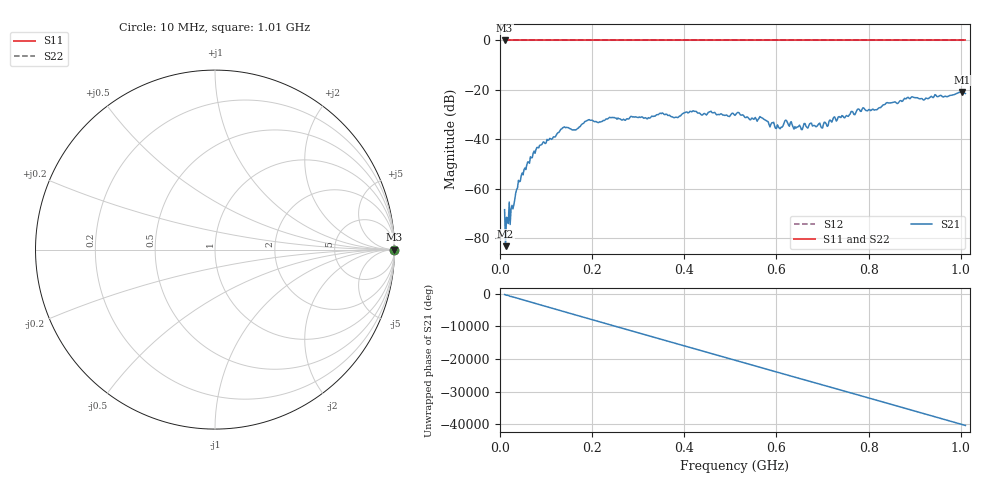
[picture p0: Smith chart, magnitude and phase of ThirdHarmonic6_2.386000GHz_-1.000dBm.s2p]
! 8/17/2025 3:50:18 AM
! C:\ANRITSUVNA\TEMP\TEMP.S2P
! CHANNEL.1
! TR.MEASUREMENT
! RAW.DATA
! RF.CORRECTION.OFF
! AVERAGING.OFF
! IF.BANDWIDTH: 5KHZ
! SWEEPTYPE:  FREQ.SWEEP(Linear)
! Reference Plane Port Info
! PORT:  PORT1  PORT2
! DISTANCE:  0  m  0  m
! TIME:  0  s  0  s
! PHASE.OFFSET:  0  deg.  0  deg.
! LOSS:  0  dB  0  dB
! REF.LOSS:  0  dB  0  dB
! REF.FREQ:  0  Hz  0  Hz
! Power Info
! POWER:  -20  dBm  -20  dBm
! EFF.POWER:  -20  dBm  -20  dBm
! SOURCE.ATTEN:  0  dB  0  dB
! TEST.ATTEN:  0  dB  0  dB
# GHZ S RI R 50.0
! FREQ.GHZ  S11RE  S11IM  S21RE  S21IM  S12RE  S12IM  S22RE  S22IM
!; PortSelection: Port_12
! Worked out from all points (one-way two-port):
!   501 points, 10 MHz to 1.01 GHz, reference 50 ohm
!   highest |S21| = -20.91 dB at 1.002 GHz (marker M1); lowest = -83.4 dB at 12 MHz (marker M2)
!   lowest |S11| = 0.0 dB at 10 MHz (marker M3)
!   |S11| at or under -10 dB: nowhere
!   |S22| runs from 0.0 to 0.0 dB; largest |S21 - S12| = 1.1
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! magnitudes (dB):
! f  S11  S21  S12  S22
! 10 MHz  0.0  -68.6  0.0  0.0
! 12 MHz  0.0  -83.4  0.0  0.0
! 14 MHz  0.0  -71.7  0.0  0.0
! 26 MHz  0.0  -66.8  0.0  0.0
! 44 MHz  0.0  -57.1  0.0  0.0
! 78 MHz  0.0  -44.3  0.0  0.0
! 136 MHz  0.0  -35.4  0.0  0.0
! 162 MHz  0.0  -36.2  0.0  0.0
! 178 MHz  0.0  -33.9  0.0  0.0
! 194 MHz  0.0  -32.1  0.0  0.0
! 344 MHz  0.0  -30.0  0.0  0.0
! 382 MHz  0.0  -31.1  0.0  0.0
! 510 MHz  0.0  -30.4  0.0  0.0
! 568 MHz  0.0  -31.3  0.0  0.0
! 602 MHz  0.0  -34.2  0.0  0.0
! 620 MHz  0.0  -32.3  0.0  0.0
! 640 MHz  0.0  -34.9  0.0  0.0
! 678 MHz  0.0  -34.7  0.0  0.0
! 700 MHz  0.0  -35.5  0.0  0.0
! 844 MHz  0.0  -25.3  0.0  0.0
! 1.002 GHz  0.0  -20.9  0.0  0.0
! 1.01 GHz  0.0  -21.5  0.0  0.0
